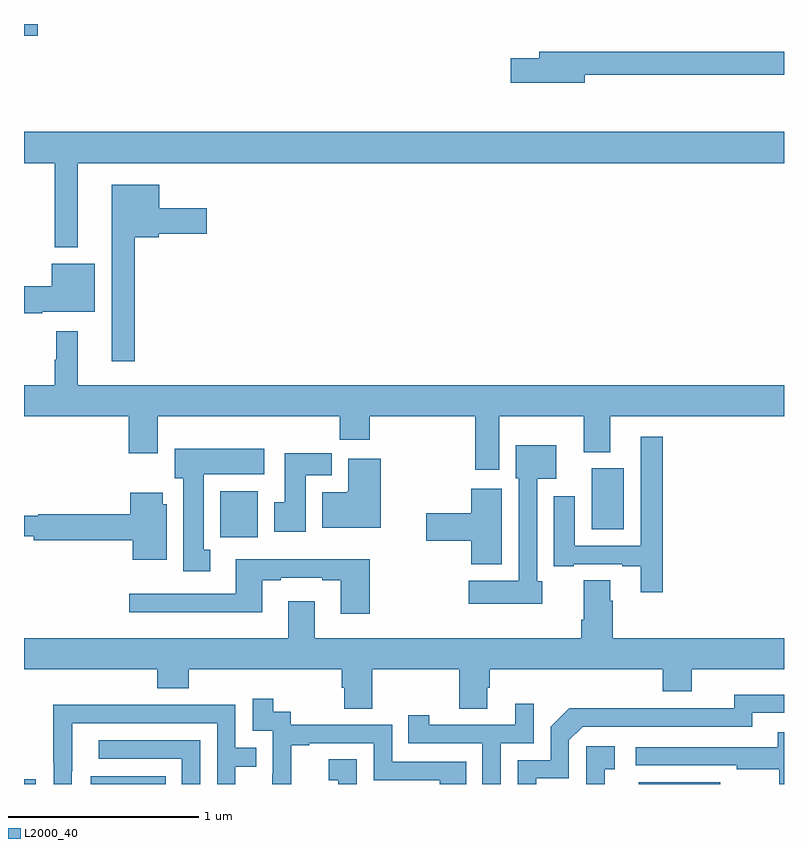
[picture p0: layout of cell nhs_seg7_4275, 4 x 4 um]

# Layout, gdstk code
import gdstk
lib = gdstk.Library(unit=1e-6, precision=1e-09)
def R(c, l, rs):  # rectangles x0, y0, x1, y1
    for r in rs: c.add(gdstk.rectangle(r[:2], r[2:], *l))
def P(c, l, *ps):  # polygons
    for p in ps: c.add(gdstk.Polygon(p, *l))
L2000_40 = (2000, 40)

nhs_seg7_4275 = lib.new_cell('nhs_seg7_4275')
R(nhs_seg7_4275, L2000_40, [(381,1012,381.063,1012.024), (381.35,1012,381.746,1012.042), (384.236,1012,384.664,1012.009), (382.034,1013.3,382.231,1013.542), (383.987,1013.342,384.157,1013.662), (381,1015.937,381.073,1016)])
P(nhs_seg7_4275, L2000_40, [(383.95,1015.734),(385,1015.734),(385,1015.855),(383.711,1015.855),(383.711,1015.821),(383.562,1015.821),(383.562,1015.691),(383.95,1015.691)],
  [(381.283,1015.268),(385,1015.268),(385,1015.432),(381,1015.432),(381,1015.268),(381.162,1015.268),(381.162,1014.824),(381.283,1014.824)],
  [(381.583,1014.878),(381.708,1014.878),(381.708,1014.896),(381.961,1014.896),(381.961,1015.03),(381.712,1015.03),(381.712,1015.153),(381.461,1015.153),(381.461,1014.225),(381.583,1014.225)],
  [(381.097,1014.485),(381.373,1014.485),(381.373,1014.739),(381.146,1014.739),(381.146,1014.62),(381,1014.62),(381,1014.478),(381.097,1014.478)],
  [(383.5,1013.936),(383.945,1013.936),(383.945,1013.747),(384.085,1013.747),(384.085,1013.936),(385,1013.936),(385,1014.1),(381.283,1014.1),(381.283,1014.382),(381.169,1014.382),(381.169,1014.233),(381.162,1014.233),(381.162,1014.1),(381,1014.1),(381,1013.936),(381.551,1013.936),(381.551,1013.742),(381.703,1013.742),(381.703,1013.936),(382.663,1013.936),(382.663,1013.812),(382.82,1013.812),(382.82,1013.936),(383.375,1013.936),(383.375,1013.655),(383.5,1013.655)],
  [(384.362,1013.827),(384.246,1013.827),(384.246,1013.253),(383.899,1013.253),(383.899,1013.515),(383.789,1013.515),(383.789,1013.145),(383.893,1013.145),(383.893,1013.157),(384.149,1013.157),(384.149,1013.145),(384.245,1013.145),(384.245,1013.01),(384.362,1013.01)],
  [(383.728,1013.067),(383.7,1013.067),(383.7,1013.606),(383.8,1013.606),(383.8,1013.782),(383.588,1013.782),(383.588,1013.61),(383.604,1013.61),(383.604,1013.071),(383.34,1013.071),(383.34,1012.949),(383.728,1012.949)],
  [(381.979,1013.234),(381.946,1013.234),(381.946,1013.63),(382.264,1013.63),(382.264,1013.764),(381.794,1013.764),(381.794,1013.61),(381.839,1013.61),(381.839,1013.121),(381.979,1013.121)],
  [(382.483,1013.624),(382.621,1013.624),(382.621,1013.742),(382.373,1013.742),(382.373,1013.484),(382.316,1013.484),(382.316,1013.328),(382.483,1013.328)],
  [(382.877,1013.713),(382.706,1013.713),(382.706,1013.542),(382.7,1013.542),(382.7,1013.536),(382.571,1013.536),(382.571,1013.348),(382.877,1013.348)],
  [(383.515,1013.554),(383.354,1013.554),(383.354,1013.426),(383.118,1013.426),(383.118,1013.279),(383.354,1013.279),(383.354,1013.156),(383.515,1013.156)],
  [(381.751,1013.472),(381.73,1013.472),(381.73,1013.533),(381.56,1013.533),(381.56,1013.42),(381.076,1013.42),(381.076,1013.413),(381,1013.413),(381,1013.303),(381.052,1013.303),(381.052,1013.284),(381.572,1013.284),(381.572,1013.18),(381.751,1013.18)],
  [(382.82,1013.182),(382.115,1013.182),(382.115,1013.001),(381.555,1013.001),(381.555,1012.904),(382.255,1012.904),(382.255,1013.073),(382.351,1013.073),(382.351,1013.085),(382.571,1013.085),(382.571,1013.073),(382.667,1013.073),(382.667,1012.896),(382.82,1012.896)],
  [(382.673,1012.506),(382.685,1012.506),(382.685,1012.396),(382.833,1012.396),(382.833,1012.604),(383.29,1012.604),(383.29,1012.396),(383.437,1012.396),(383.437,1012.506),(383.45,1012.506),(383.45,1012.604),(384.362,1012.604),(384.362,1012.487),(384.514,1012.487),(384.514,1012.604),(385,1012.604),(385,1012.768),(384.098,1012.768),(384.098,1012.964),(384.085,1012.964),(384.085,1013.072),(383.945,1013.072),(383.945,1012.864),(383.933,1012.864),(383.933,1012.768),(382.531,1012.768),(382.531,1012.963),(382.391,1012.963),(382.391,1012.768),(381,1012.768),(381,1012.604),(381.701,1012.604),(381.701,1012.505),(381.866,1012.505),(381.866,1012.604),(382.673,1012.604)],
  [(383.695,1012.029),(383.868,1012.029),(383.868,1012.23),(383.94,1012.302),(384.834,1012.302),(384.834,1012.374),(385,1012.374),(385,1012.471),(384.738,1012.471),(384.738,1012.398),(384.278,1012.398),(384.278,1012.4),(383.87,1012.4),(383.772,1012.302),(383.772,1012.125),(383.598,1012.125),(383.598,1012),(383.695,1012)],
  [(382.406,1012.203),(382.501,1012.203),(382.501,1012.215),(382.842,1012.215),(382.842,1012.02),(383.187,1012.02),(383.187,1012),(383.327,1012),(383.327,1012.116),(382.938,1012.116),(382.938,1012.311),(382.404,1012.311),(382.404,1012.38),(382.312,1012.38),(382.312,1012.45),(382.203,1012.45),(382.203,1012.281),(382.308,1012.281),(382.308,1012.052),(382.307,1012.052),(382.307,1012),(382.406,1012)],
  [(383.508,1012.215),(383.682,1012.215),(383.682,1012.423),(383.585,1012.423),(383.585,1012.311),(383.134,1012.311),(383.134,1012.363),(383.023,1012.363),(383.023,1012.215),(383.412,1012.215),(383.412,1012),(383.508,1012)],
  [(381.252,1012.066),(381.253,1012.066),(381.253,1012.32),(382.017,1012.32),(382.017,1012),(382.113,1012),(382.113,1012.09),(382.223,1012.09),(382.223,1012.191),(382.113,1012.191),(382.113,1012.416),(381.617,1012.416),(381.617,1012.418),(381.154,1012.418),(381.154,1012.111),(381.156,1012.111),(381.156,1012),(381.252,1012)],
  [(385,1012.273),(384.967,1012.273),(384.967,1012.194),(384.219,1012.194),(384.219,1012.098),(384.751,1012.098),(384.751,1012.078),(384.975,1012.078),(384.975,1012),(385,1012)],
  [(381.927,1012.23),(381.393,1012.23),(381.393,1012.134),(381.831,1012.134),(381.831,1012),(381.927,1012)],
  [(384.056,1012.077),(384.109,1012.077),(384.109,1012.198),(383.958,1012.198),(383.958,1012),(384.056,1012)],
  [(382.752,1012.129),(382.605,1012.129),(382.605,1012.019),(382.654,1012.019),(382.654,1012),(382.752,1012)])

lib.write_gds('nhs_seg7_4275.gds')
